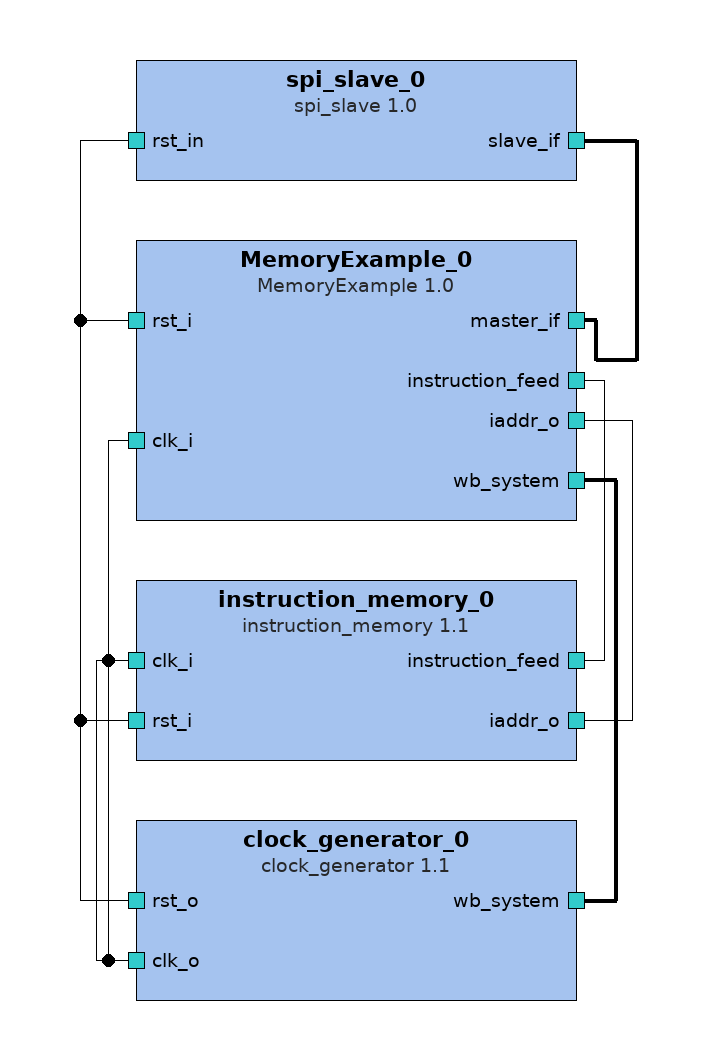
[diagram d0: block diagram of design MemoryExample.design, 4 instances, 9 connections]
<?xml version="1.0" encoding="UTF-8"?>
<ipxact:design xmlns:xsi="http://www.w3.org/2001/XMLSchema-instance" xmlns:ipxact="http://www.accellera.org/XMLSchema/IPXACT/1685-2014" xmlns:kactus2="http://kactus2.cs.tut.fi" xsi:schemaLocation="http://www.accellera.org/XMLSchema/IPXACT/1685-2014/ http://www.accellera.org/XMLSchema/IPXACT/1685-2014/index.xsd"><ipxact:vendor>tut.fi</ipxact:vendor><ipxact:library>testBench</ipxact:library><ipxact:name>MemoryExample.design</ipxact:name>
 <ipxact:version>1.0</ipxact:version><ipxact:componentInstances>
 <ipxact:componentInstance><ipxact:instanceName>MemoryExample_0</ipxact:instanceName><ipxact:componentRef vendor="tut.fi" library="processor" name="MemoryExample" version="1.0"/></ipxact:componentInstance>
 <ipxact:componentInstance><ipxact:instanceName>spi_slave_0</ipxact:instanceName><ipxact:componentRef vendor="tut.fi" library="template" name="spi_slave" version="1.0"/></ipxact:componentInstance>
 <ipxact:componentInstance><ipxact:instanceName>instruction_memory_0</ipxact:instanceName><ipxact:componentRef vendor="tut.fi" library="testBench" name="instruction_memory" version="1.1"/></ipxact:componentInstance>
 <ipxact:componentInstance><ipxact:instanceName>clock_generator_0</ipxact:instanceName><ipxact:componentRef vendor="tut.fi" library="testBench" name="clock_generator" version="1.1"/></ipxact:componentInstance>
</ipxact:componentInstances><ipxact:interconnections>
 <ipxact:interconnection><ipxact:name>spi_slave_0_slave_if_to_MemoryExample_0_master_if</ipxact:name><ipxact:activeInterface componentRef="spi_slave_0" busRef="slave_if"/><ipxact:activeInterface componentRef="MemoryExample_0" busRef="master_if"/></ipxact:interconnection>
 <ipxact:interconnection><ipxact:name>clock_generator_0_wb_system_to_MemoryExample_0_wb_system</ipxact:name><ipxact:activeInterface componentRef="clock_generator_0" busRef="wb_system"/><ipxact:activeInterface componentRef="MemoryExample_0" busRef="wb_system"/></ipxact:interconnection>
</ipxact:interconnections><ipxact:adHocConnections>
 <ipxact:adHocConnection><ipxact:name>instruction_memory_0_instruction_feed_to_MemoryExample_0_instruction_feed</ipxact:name><ipxact:portReferences><ipxact:internalPortReference componentRef="instruction_memory_0" portRef="instruction_feed"/><ipxact:internalPortReference componentRef="MemoryExample_0" portRef="instruction_feed"/></ipxact:portReferences></ipxact:adHocConnection>
 <ipxact:adHocConnection><ipxact:name>MemoryExample_0_iaddr_o_to_instruction_memory_0_iaddr_o</ipxact:name><ipxact:portReferences><ipxact:internalPortReference componentRef="MemoryExample_0" portRef="iaddr_o"/><ipxact:internalPortReference componentRef="instruction_memory_0" portRef="iaddr_o"/></ipxact:portReferences></ipxact:adHocConnection>
 <ipxact:adHocConnection><ipxact:name>clock_generator_0_clk_o_to_instruction_memory_0_clk_i</ipxact:name><ipxact:portReferences><ipxact:internalPortReference componentRef="clock_generator_0" portRef="clk_o"/><ipxact:internalPortReference componentRef="instruction_memory_0" portRef="clk_i"/></ipxact:portReferences></ipxact:adHocConnection>
 <ipxact:adHocConnection><ipxact:name>clock_generator_0_clk_o_to_MemoryExample_0_clk_i</ipxact:name><ipxact:portReferences><ipxact:internalPortReference componentRef="clock_generator_0" portRef="clk_o"/><ipxact:internalPortReference componentRef="MemoryExample_0" portRef="clk_i"/></ipxact:portReferences></ipxact:adHocConnection>
 <ipxact:adHocConnection><ipxact:name>clock_generator_0_rst_o_to_instruction_memory_0_rst_i</ipxact:name><ipxact:portReferences><ipxact:internalPortReference componentRef="clock_generator_0" portRef="rst_o"/><ipxact:internalPortReference componentRef="instruction_memory_0" portRef="rst_i"/></ipxact:portReferences></ipxact:adHocConnection>
 <ipxact:adHocConnection><ipxact:name>clock_generator_0_rst_o_to_MemoryExample_0_rst_i</ipxact:name><ipxact:portReferences><ipxact:internalPortReference componentRef="clock_generator_0" portRef="rst_o"/><ipxact:internalPortReference componentRef="MemoryExample_0" portRef="rst_i"/></ipxact:portReferences></ipxact:adHocConnection>
 <ipxact:adHocConnection><ipxact:name>clock_generator_0_rst_o_to_spi_slave_0_rst_in</ipxact:name><ipxact:portReferences><ipxact:internalPortReference componentRef="clock_generator_0" portRef="rst_o"/><ipxact:internalPortReference componentRef="spi_slave_0" portRef="rst_in"/></ipxact:portReferences></ipxact:adHocConnection>
</ipxact:adHocConnections></ipxact:design>

